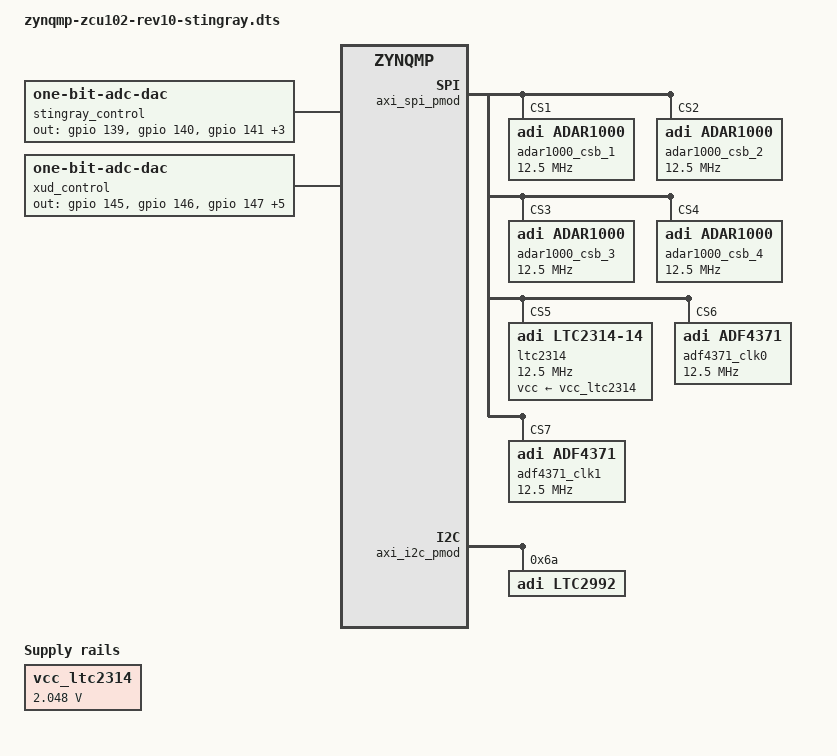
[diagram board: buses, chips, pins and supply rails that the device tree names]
// SPDX-License-Identifier: GPL-2.0
/*
 * Analog Devices Stingray
 * https://wiki.analog.com/resources/eval/user-guides/quadmxfe/quick-start
 * https://wiki.analog.com/resources/tools-software/linux-drivers/iio-mxfe/ad9081
 *
 * hdl_project: <ad9081_fmca_ebz/zcu102>
 * board_revision: <>
 *
 * Copyright (C) 2019-2020 Analog Devices Inc.
 */

#include "zynqmp-zcu102-rev10-ad9081-m8-l4.dts"

/ {
	clocks {
		adf4371_clkin: clock@0 {
			#clock-cells = <0>;
			compatible = "fixed-clock";
			clock-frequency = <100000000>;
			clock-output-names = "adf4371_clkin";
		};
	};

	vcc_ltc2314: fixedregulator@0 {
		compatible = "regulator-fixed";
		regulator-name = "fixed-supply";
		regulator-min-microvolt = <2048000>;
		regulator-max-microvolt = <2048000>;
		regulator-boot-on;
	};

	stingray_control@0 {
	        compatible = "one-bit-adc-dac";
	        #address-cells = <1>;
	        #size-cells = <0>;

	        out-gpios = <&gpio 139 0>, <&gpio 140 0>, <&gpio 141 0>,
			<&gpio 142 0>, <&gpio 143 0>, <&gpio 144 0>;
		label = "stingray_control";

	        channel@0 {
			reg = <0>;
			label = "PA_ON";
	        };

	        channel@1 {
			reg = <1>;
			label = "TR";
	        };

	        channel@2 {
			reg = <2>;
			label = "TX_LOAD";
	        };

	        channel@3 {
			reg = <3>;
			label = "RX_LOAD";
	        };

	        channel@4 {
			reg = <4>;
			label = "5V_CTRL";
	        };

	        channel@5 {
			reg = <5>;
			label = "PWR_UP_DOWN";
	        };
	};

	xud_control@1 {
	        compatible = "one-bit-adc-dac";
	        #address-cells = <1>;
	        #size-cells = <0>;

	        out-gpios = <&gpio 145 0>, <&gpio 146 0>, <&gpio 147 0>,
			<&gpio 148 0>, <&gpio 149 0>, <&gpio 150 0>,
			<&gpio 151 0>, <&gpio 152 0>;
		label = "xud_control";

	        channel@0 {
			reg = <0>;
			label = "TX_RX_1";
	        };

	        channel@1 {
			reg = <1>;
			label = "IF_STATE_1";
	        };

	        channel@2 {
			reg = <2>;
			label = "RX_AMP_EN_1";
	        };

	        channel@3 {
			reg = <3>;
			label = "CTRL_PLL_1";
	        };

	        channel@4 {
			reg = <4>;
			label = "TX_RX_2";
	        };

	        channel@5 {
			reg = <5>;
			label = "IF_STATE_2";
	        };

	        channel@6 {
			reg = <6>;
			label = "RX_AMP_EN_2";
	        };

	        channel@7 {
			reg = <7>;
			label = "CTRL_PLL_1";
	        };
	};
};

&fpga_axi {
	axi_spi_pmod: axi_quad_spi@85200000 {
		#address-cells = <1>;
		#size-cells = <0>;
		bits-per-word = <8>;
		compatible = "xlnx,xps-spi-2.00.a";
		fifo-size = <16>;
		interrupts = <0 111 IRQ_TYPE_LEVEL_HIGH>;
		num-cs = <0x8>;
		reg = <0x85200000 0x10000>;
		xlnx,num-ss-bits = <0x8>;
		xlnx,spi-mode = <0>;
	};

	axi_i2c_pmod: i2c@85100000 {
		#address-cells = <1>;
		#size-cells = <0>;
		clock-names = "s_axi_aclk";
		clocks = <&zynqmp_clk 71>;
		compatible = "xlnx,axi-iic-2.0", "xlnx,xps-iic-2.00.a";
		interrupt-names = "iic2intc_irpt";
		interrupts = <0 110 IRQ_TYPE_LEVEL_HIGH>;
		reg = <0x85100000 0x1000>;
	};
};

&axi_i2c_pmod {
	ltc2992@6A {
                #address-cells = <1>;
                #size-cells = <0>;
                compatible = "adi,ltc2992";
                reg = <0x6A>;
                channel@0 {
                        reg = <0x0>;
                        shunt-resistor-micro-ohms = <8000>;
                };
                channel@1 {
                        reg = <0x1>;
                        shunt-resistor-micro-ohms = <3500>;
                };
        };
};

&axi_spi_pmod {
	adar1000_csb_1@1 {
		compatible = "adi,adar1000";
		reg = <1>;
		spi-max-frequency = <12500000>;

		#address-cells = <1>;
		#size-cells = <0>;

		adar1000_csb_1_1@0 {
			reg = <0>;
			label = "csb1_chip1";
		};

		adar1000_csb_1_2@1 {
			reg = <1>;
			label = "csb1_chip2";
		};

		adar1000_csb_1_3@2 {
			reg = <2>;
			label = "csb1_chip3";
		};

		adar1000_csb_1_4@3 {
			reg = <3>;
			label = "csb1_chip4";
		};
	};

	adar1000_csb_2@2 {
		compatible = "adi,adar1000";
		reg = <2>;
		spi-max-frequency = <12500000>;

		#address-cells = <1>;
		#size-cells = <0>;

		adar1000_csb_2_1@0 {
			reg = <0>;
			label = "csb2_chip1";
		};

		adar1000_csb_2_2@1 {
			reg = <1>;
			label = "csb2_chip2";
		};

		adar1000_csb_2_3@2 {
			reg = <2>;
			label = "csb2_chip3";
		};

		adar1000_csb_2_4@3 {
			reg = <3>;
			label = "csb2_chip4";
		};
	};

	adar1000_csb_3@3 {
		compatible = "adi,adar1000";
		reg = <3>;
		spi-max-frequency = <12500000>;

		#address-cells = <1>;
		#size-cells = <0>;

		adar1000_csb_3_1@0 {
			reg = <0>;
			label = "csb3_chip1";
		};

		adar1000_csb_3_2@1 {
			reg = <1>;
			label = "csb3_chip2";
		};

		adar1000_csb_3_3@2 {
			reg = <2>;
			label = "csb3_chip3";
		};

		adar1000_csb_3_4@3 {
			reg = <3>;
			label = "csb3_chip4";
		};
	};

	adar1000_csb_4@4 {
		compatible = "adi,adar1000";
		reg = <4>;
		spi-max-frequency = <12500000>;

		#address-cells = <1>;
		#size-cells = <0>;

		adar1000_csb_4_1@0 {
			reg = <0>;
			label = "csb4_chip1";
		};

		adar1000_csb_4_2@1 {
			reg = <1>;
			label = "csb4_chip2";
		};

		adar1000_csb_4_3@2 {
			reg = <2>;
			label = "csb4_chip3";
		};

		adar1000_csb_4_4@3 {
			reg = <3>;
			label = "csb4_chip4";
		};
	};

	ltc2314@5 {
		compatible = "adi,ltc2314-14";
		reg = <5>;
		spi-max-frequency = <12500000>;
		vcc-supply = <&vcc_ltc2314>;
	};

	adf4371_clk0: adf4371-0@6 {
		compatible = "adi,adf4371";
		reg = <6>;

		#address-cells = <1>;
		#clock-cells = <1>;
		#size-cells = <0>;

		spi-max-frequency = <12500000>;
		clocks = <&adf4371_clkin>;
		clock-names = "clkin";
		clock-output-names = "pll0-clk-rf8", "pll0-clk-rfaux8",
			"pll0-clk-rf16", "pll0-clk-rf32";
	};

	adf4371_clk1: adf4371-1@7 {
		compatible = "adi,adf4371";
		reg = <7>;

		#address-cells = <1>;
		#clock-cells = <1>;
		#size-cells = <0>;

		spi-max-frequency = <12500000>;
		clocks = <&adf4371_clkin>;
		clock-names = "clkin";
		clock-output-names = "pll1-clk-rf8", "pll1-clk-rfaux8",
			"pll1-clk-rf16", "pll1-clk-rf32";
	};
};
